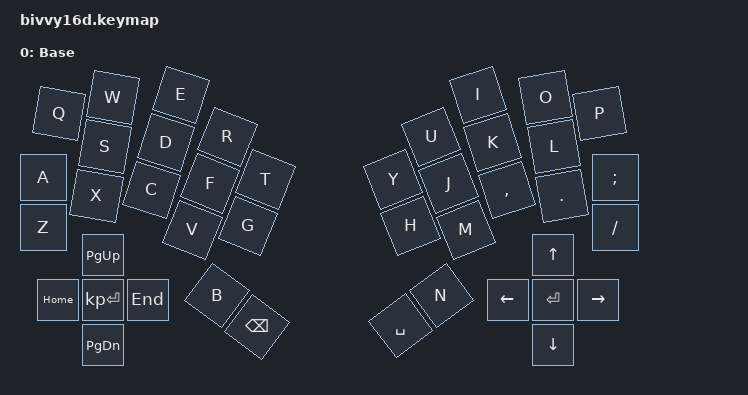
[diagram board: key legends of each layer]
#include <behaviors.dtsi>
#include <dt-bindings/zmk/keys.h>

/ {
    keymap {
        compatible = "zmk,keymap";

        default_layer { // Layer 0
            display-name = "Base";
            bindings = <
                &kp Q     &kp W    &kp E        &kp R   &kp T       &kp Y     &kp U    &kp I     &kp O     &kp P
                &kp A     &kp S    &kp D        &kp F   &kp G       &kp H     &kp J    &kp K     &kp L     &kp SEMI
                &kp Z     &kp X    &kp C        &kp V   &kp B       &kp N     &kp M    &kp COMMA &kp DOT   &kp SLASH
                &kp PG_DN &kp HOME &kp KP_ENTER &kp END &kp PG_UP   &kp UP    &kp LEFT &kp ENTER &kp RIGHT &kp DOWN
                                                        &kp BSPC    &kp SPACE
            >;
        };

        // Empty layers for ZMK Studio:
        extra1 {
            status = "reserved";
        };
        extra2 {
            status = "reserved";
        };
        extra3 {
            status = "reserved";
        };
        extra4 {
            status = "reserved";
        };
        extra5 {
            status = "reserved";
        };
    };
};

/ {
    combos {
        compatible = "zmk,combos";

        // Top left (Q) + top right on left hand (T) = &studio_unlock
        combo_studio_unlock {
            timeout-ms = <100>;
            key-positions = <0 4>;
            bindings = <&studio_unlock>;
        };
    };
};
